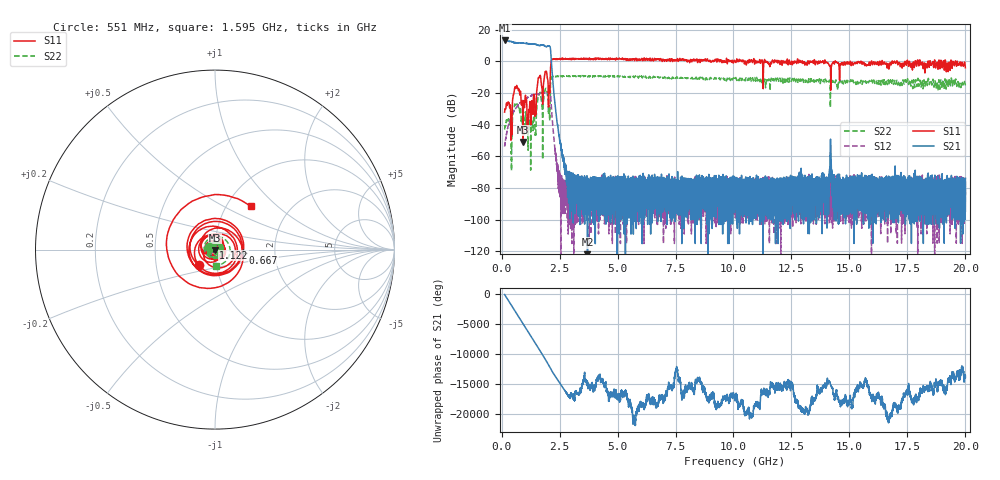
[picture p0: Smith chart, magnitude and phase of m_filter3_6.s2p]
!Created with skrf (http://scikit-rf.org).
# GHz S RI R 50.0
!freq ReS11 ImS11 ReS21 ImS21 ReS12 ImS12 ReS22 ImS22
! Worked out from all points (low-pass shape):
!   20013 points, 130 MHz to 20 GHz, reference 50 ohm
!   highest |S21| = 13.25 dB at 130 MHz (marker M1); lowest = -178.6 dB at 3.703 GHz (marker M2)
!   |S21| within 3 dB of the highest: start of sweep to 1.553 GHz; 1.693 GHz to 1.803 GHz (109.9 MHz wide, 6.29 % of centre) (the widest 2 of 12)
!   lowest |S11| = -50.9 dB at 922 MHz (marker M3), VSWR 1.01, Z = 49.8 - j0.146 ohm
!   |S11| at or under -10 dB: start of sweep to 1.636 GHz; 1.684 GHz to 1.839 GHz (155.1 MHz wide, 8.81 % of centre); 1.966 GHz to 2.093 GHz (126.5 MHz wide, 6.23 % of centre) (the widest 3 of 6)
!   |S22| runs from -69.1 to -8.9 dB; largest |S21 - S12| = 4.6
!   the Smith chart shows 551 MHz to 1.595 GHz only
!   S11 on the Smith chart (normalised r, x): 551 MHz: 0.82, -0.15; 667 MHz: 1.37, -0.05; 1.122 GHz: 0.98, +0.02; 1.595 GHz: 1.29, +0.69
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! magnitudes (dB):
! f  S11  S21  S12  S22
! 130 MHz  -32.0  13.2  -53.8  -42.8
! 410 MHz  -42.9  12.6  -35.0  -57.7
! 551 MHz  -18.0  11.8  -31.0  -28.3
! 667 MHz  -16.1  11.8  -28.5  -26.9
! 922 MHz  -50.9  11.6  -24.6  -45.7
! 1.122 GHz  -36.9  11.3  -22.8  -43.4
! 1.405 GHz  -21.1  11.0  -21.0  -32.5
! 1.595 GHz  -10.1  10.1  -20.6  -20.9
! 2.063 GHz  -16.4  9.7  -19.3  -32.4
! 2.21 GHz  1.2  -12.7  -41.3  -9.6
! 2.542 GHz  1.5  -51.9  -80.6  -9.4
! 2.892 GHz  1.2  -77.5  -82.5  -9.4
! 3.442 GHz  1.9  -83.8  -84.0  -9.0
! 3.703 GHz  1.7  -178.6  -82.6  -9.2
! 6.754 GHz  1.6  -78.4  -81.2  -9.9
! 10.06 GHz  0.0  -91.0  -77.8  -11.5
! 13.38 GHz  -0.5  -87.6  -82.5  -12.4
! 14.03 GHz  -0.7  -77.0  -83.3  -12.2
! 14.19 GHz  -18.2  -50.6  -72.1  -15.4
! 14.36 GHz  -1.4  -82.2  -80.9  -12.7
! 16.69 GHz  -3.7  -80.9  -83.7  -12.0
! 20 GHz  -4.0  -74.0  -73.4  -14.5
